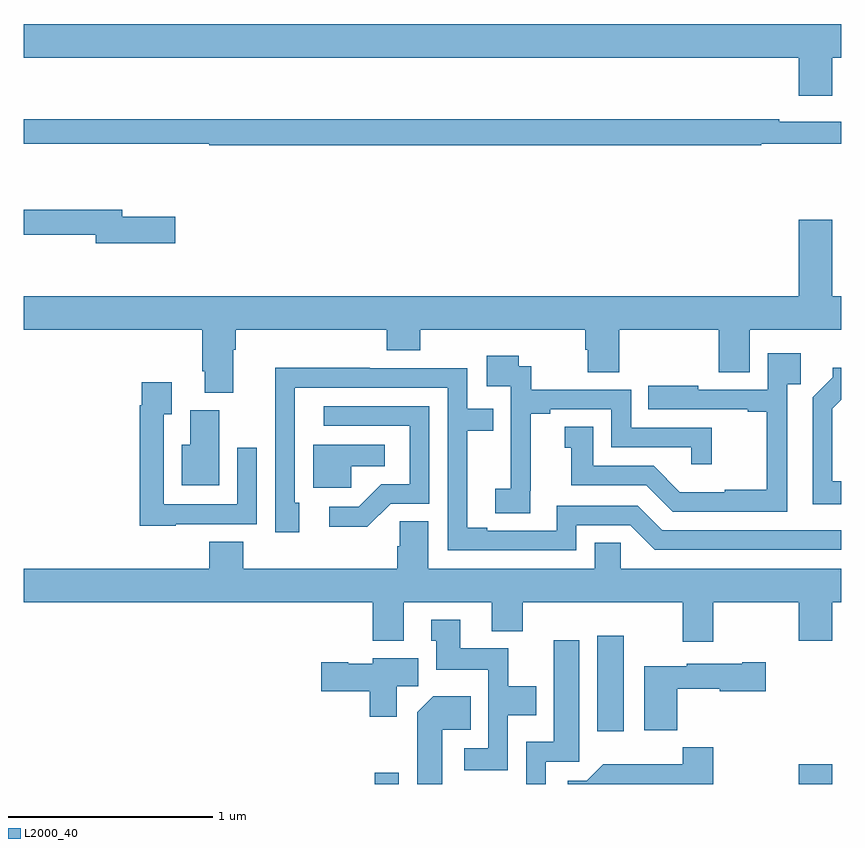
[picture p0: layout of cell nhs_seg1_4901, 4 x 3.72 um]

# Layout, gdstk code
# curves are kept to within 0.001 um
import gdstk
lib = gdstk.Library(unit=1e-6, precision=1e-09)
def R(c, l, rs):  # rectangles x0, y0, x1, y1
    for r in rs: c.add(gdstk.rectangle(r[:2], r[2:], *l))
def P(c, l, *ps):  # polygons
    for p in ps: c.add(gdstk.Polygon(p, *l))
L2000_40 = (2000, 40)

nhs_seg1_4901 = lib.new_cell('nhs_seg1_4901')
R(nhs_seg1_4901, L2000_40, [(378.718,528.199,378.834,528.253), (380.792,528.199,380.956,528.295), (379.805,528.456,379.936,528.925)])
P(nhs_seg1_4901, L2000_40, [(380.956,531.752),(381,531.752),(381,531.916),(377,531.916),(377,531.752),(380.792,531.752),(380.792,531.564),(380.956,531.564)],
  [(380.608,531.33),(381,531.33),(381,531.438),(380.696,531.438),(380.696,531.451),(377,531.451),(377,531.33),(377.908,531.33),(377.908,531.322),(380.608,531.322)],
  [(377.743,530.973),(377.482,530.973),(377.482,531.007),(377,531.007),(377,530.886),(377.354,530.886),(377.354,530.843),(377.743,530.843)],
  [(378.025,530.324),(378.038,530.324),(378.038,530.42),(378.776,530.42),(378.776,530.321),(378.941,530.321),(378.941,530.42),(379.748,530.42),(379.748,530.322),(379.76,530.322),(379.76,530.212),(379.913,530.212),(379.913,530.42),(380.399,530.42),(380.399,530.212),(380.551,530.212),(380.551,530.42),(381,530.42),(381,530.584),(380.956,530.584),(380.956,530.959),(380.792,530.959),(380.792,530.584),(377,530.584),(377,530.42),(377.873,530.42),(377.873,530.218),(377.885,530.218),(377.885,530.113),(378.025,530.113)],
  [(380.736,530.153),(380.801,530.153),(380.801,530.305),(380.64,530.305),(380.64,530.127),(380.299,530.127),(380.299,530.146),(380.056,530.146),(380.056,530.031),(380.543,530.031),(380.543,530.019),(380.635,530.019),(380.635,529.639),(380.429,529.639),(380.429,529.627),(380.21,529.627),(380.082,529.755),(379.786,529.755),(379.786,529.946),(379.646,529.946),(379.646,529.843),(379.679,529.843),(379.679,529.659),(380.046,529.659),(380.175,529.53),(380.736,529.53)],
  [(379.478,529.633),(379.48,529.633),(379.48,530.011),(379.576,530.011),(379.576,530.031),(379.875,530.031),(379.875,529.845),(380.265,529.845),(380.265,529.764),(380.366,529.764),(380.366,529.941),(379.971,529.941),(379.971,530.127),(379.484,530.127),(379.484,530.241),(379.422,530.241),(379.422,530.293),(379.266,530.293),(379.266,530.145),(379.383,530.145),(379.383,529.841),(379.382,529.841),(379.382,529.644),(379.308,529.644),(379.308,529.522),(379.478,529.522)],
  [(381,529.679),(380.956,529.679),(380.956,530.035),(381,530.079),(381,530.234),(380.958,530.234),(380.958,530.189),(380.859,530.09),(380.859,529.566),(381,529.566)],
  [(379.704,529.464),(379.968,529.464),(380.088,529.344),(381,529.344),(381,529.44),(380.124,529.44),(380.004,529.56),(379.608,529.56),(379.608,529.437),(379.267,529.437),(379.267,529.452),(379.171,529.452),(379.171,529.926),(379.298,529.926),(379.298,530.034),(379.17,530.034),(379.17,530.232),(378.692,530.232),(378.692,530.234),(378.23,530.234),(378.231,529.431),(378.349,529.431),(378.349,529.575),(378.327,529.575),(378.327,530.136),(379.074,530.136),(379.074,529.341),(379.704,529.341)],
  [(377.745,529.47),(378.141,529.47),(378.141,529.843),(378.045,529.843),(378.045,529.566),(377.685,529.566),(377.685,530.008),(377.725,530.008),(377.725,530.164),(377.577,530.164),(377.577,530.051),(377.569,530.051),(377.569,529.463),(377.745,529.463)],
  [(378.795,529.569),(378.984,529.569),(378.984,530.046),(378.468,530.046),(378.468,529.95),(378.888,529.95),(378.888,529.665),(378.75,529.665),(378.639,529.554),(378.495,529.554),(378.495,529.457),(378.682,529.457)],
  [(377.956,530.028),(377.816,530.028),(377.816,529.858),(377.774,529.858),(377.774,529.661),(377.956,529.661)],
  [(378.603,529.754),(378.766,529.754),(378.766,529.858),(378.416,529.858),(378.416,529.647),(378.603,529.647)],
  [(380.373,529.088),(380.792,529.088),(380.792,528.9),(380.956,528.9),(380.956,529.088),(381,529.088),(381,529.252),(379.92,529.252),(379.92,529.379),(379.793,529.379),(379.793,529.252),(378.979,529.252),(378.979,529.484),(378.84,529.484),(378.84,529.361),(378.827,529.361),(378.827,529.252),(378.074,529.252),(378.074,529.385),(377.909,529.385),(377.909,529.252),(377,529.252),(377,529.088),(378.707,529.088),(378.707,528.899),(378.859,528.899),(378.859,529.088),(379.289,529.088),(379.289,528.947),(379.442,528.947),(379.442,529.088),(380.225,529.088),(380.225,528.894),(380.373,528.894)],
  [(379.368,528.536),(379.507,528.536),(379.507,528.676),(379.371,528.676),(379.371,528.862),(379.135,528.862),(379.135,529.003),(378.995,529.003),(378.995,528.9),(379.019,528.9),(379.019,528.758),(379.272,528.758),(379.272,528.375),(379.155,528.375),(379.155,528.267),(379.368,528.267)],
  [(379.554,528.309),(379.717,528.309),(379.717,528.901),(379.592,528.901),(379.592,528.406),(379.458,528.406),(379.458,528.199),(379.554,528.199)],
  [(378.826,528.676),(378.931,528.676),(378.931,528.814),(378.708,528.814),(378.708,528.787),(378.588,528.787),(378.588,528.795),(378.456,528.795),(378.456,528.653),(378.692,528.653),(378.692,528.528),(378.826,528.528)],
  [(380.198,528.665),(380.406,528.665),(380.406,528.653),(380.629,528.653),(380.629,528.795),(380.516,528.795),(380.516,528.787),(380.244,528.787),(380.244,528.775),(380.036,528.775),(380.036,528.461),(380.198,528.461)],
  [(379.048,528.464),(379.187,528.464),(379.187,528.628),(379.004,528.628),(378.926,528.55),(378.926,528.199),(379.048,528.199)],
  [(380.373,528.379),(380.223,528.379),(380.223,528.295),(379.834,528.295),(379.755,528.216),(379.662,528.216),(379.662,528.199),(380.373,528.199)])

lib.write_gds('nhs_seg1_4901.gds')
